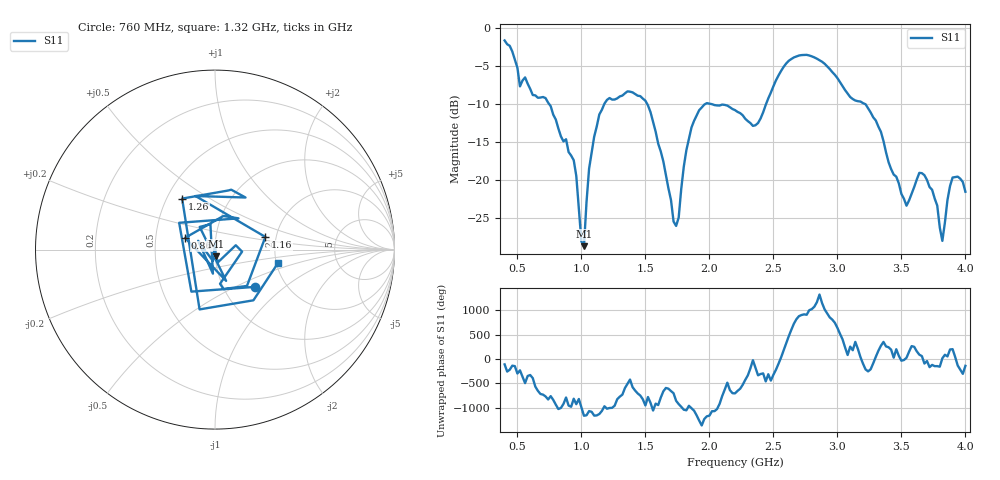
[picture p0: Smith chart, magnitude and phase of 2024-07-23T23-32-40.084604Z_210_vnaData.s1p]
!Created with skrf (http://scikit-rf.org).
# Hz S RI R 50.0
!freq ReS11 ImS11
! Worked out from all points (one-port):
!   181 points, 400 MHz to 4 GHz, reference 50 ohm
!   lowest |S11| = -28.8 dB at 1.02 GHz (marker M1), VSWR 1.08, Z = 50.2 - j3.65 ohm
!   |S11| at or under -10 dB: 1.514 GHz to 1.969 GHz (455.3 MHz wide, 26.1 % of centre); 2.01 GHz to 2.443 GHz (433 MHz wide, 19.4 % of centre); 3.214 GHz to end of sweep (the widest 3 of 4)
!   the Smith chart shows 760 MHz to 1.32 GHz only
!   S11 on the Smith chart (normalised r, x): 760 MHz: 1.41, -0.64; 860 MHz: 0.71, +0.10; 1.16 GHz: 1.75, +0.27; 1.26 GHz: 0.60, +0.38; 1.32 GHz: 2.04, -0.35
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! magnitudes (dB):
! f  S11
! 400 MHz  -1.6
! 520 MHz  -7.7
! 760 MHz  -10.3
! 860 MHz  -14.9
! 940 MHz  -17.4
! 1 GHz  -28.1
! 1.02 GHz  -28.8
! 1.06 GHz  -18.5
! 1.16 GHz  -10.8
! 1.26 GHz  -9.4
! 1.3 GHz  -9.0
! 1.32 GHz  -8.9
! 1.52 GHz  -10.2
! 1.72 GHz  -25.5
! 1.76 GHz  -25.0
! 1.82 GHz  -16.1
! 1.92 GHz  -10.8
! 2.2 GHz  -10.8
! 2.38 GHz  -12.5
! 2.66 GHz  -3.9
! 3.1 GHz  -9.1
! 3.3 GHz  -12.2
! 3.56 GHz  -22.7
! 3.68 GHz  -19.4
! 3.78 GHz  -23.4
! 3.82 GHz  -28.1
! 3.9 GHz  -19.7
! 4 GHz  -21.6
